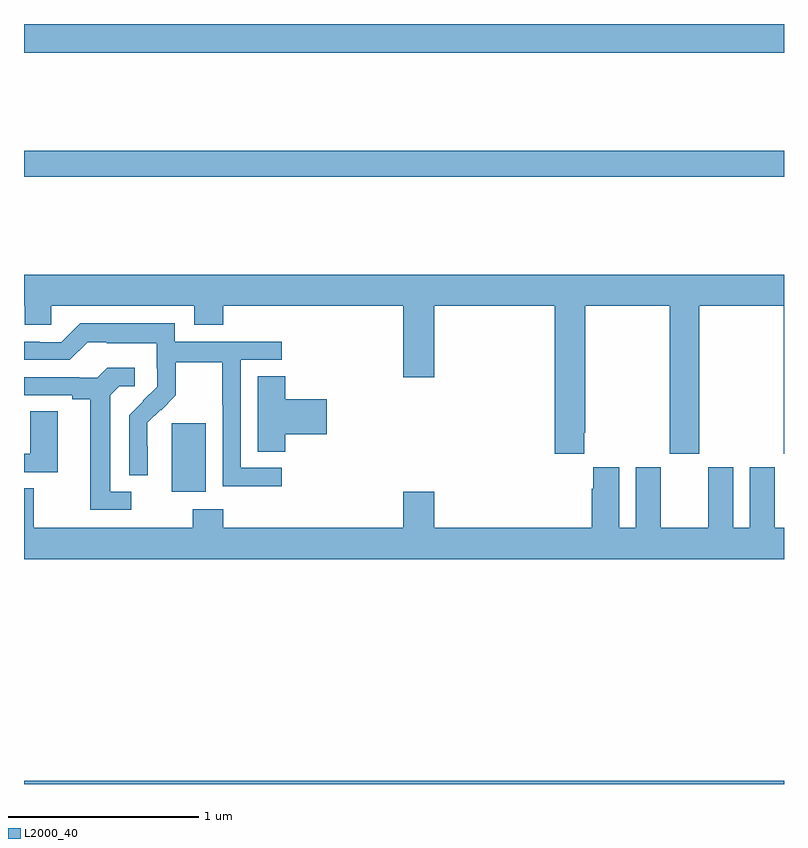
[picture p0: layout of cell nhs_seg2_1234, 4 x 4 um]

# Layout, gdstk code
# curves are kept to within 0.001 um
import gdstk
lib = gdstk.Library(unit=1e-6, precision=1e-09)
def R(c, l, rs):  # rectangles x0, y0, x1, y1
    for r in rs: c.add(gdstk.rectangle(r[:2], r[2:], *l))
def P(c, l, *ps):  # polygons
    for p in ps: c.add(gdstk.Polygon(p, *l))
L2000_40 = (2000, 40)

nhs_seg2_1234 = lib.new_cell('nhs_seg2_1234')
R(nhs_seg2_1234, L2000_40, [(175,631.8,179,631.816), (175.778,633.338,175.957,633.699), (175,634.996,179,635.132), (175,635.648,179,635.8)])
P(nhs_seg2_1234, L2000_40, [(177.949,633.649),(177.954,633.649),(177.954,634.316),(178.399,634.316),(178.399,633.537),(178.554,633.537),(178.554,634.316),(178.999,634.316),(178.999,633.537),(179,633.537),(179,634.48),(175,634.48),(175,634.316),(175.005,634.316),(175.005,634.218),(175.143,634.218),(175.143,634.316),(175.895,634.316),(175.895,634.217),(176.048,634.217),(176.048,634.316),(176.996,634.316),(176.996,633.942),(177.16,633.942),(177.16,634.316),(177.794,634.316),(177.794,633.537),(177.949,633.537)],
  [(176.356,633.465),(176.142,633.465),(176.142,634.032),(176.356,634.032),(176.356,634.128),(175.794,634.128),(175.794,634.225),(175.297,634.225),(175.197,634.125),(175.082,634.125),(175.082,634.128),(175,634.128),(175,634.032),(175.242,634.032),(175.335,634.125),(175.435,634.125),(175.435,634.121),(175.698,634.121),(175.698,633.987),(175.7,633.987),(175.7,633.89),(175.554,633.742),(175.554,633.424),(175.65,633.424),(175.649,633.701),(175.719,633.771),(175.722,633.768),(175.799,633.845),(175.799,634.02),(176.044,634.02),(176.044,633.796),(176.046,633.796),(176.046,633.367),(176.356,633.367)],
  [(175.564,633.339),(175.453,633.339),(175.453,633.847),(175.5,633.894),(175.582,633.894),(175.582,633.991),(175.438,633.991),(175.386,633.939),(175.292,633.939),(175.292,633.942),(175,633.942),(175,633.846),(175.253,633.846),(175.253,633.824),(175.349,633.824),(175.349,633.243),(175.564,633.243)],
  [(176.375,633.641),(176.593,633.641),(176.593,633.824),(176.375,633.824),(176.375,633.947),(176.231,633.947),(176.231,633.55),(176.375,633.55)],
  [(175.177,633.761),(175.032,633.761),(175.032,633.537),(175,633.537),(175,633.441),(175.177,633.441)],
  [(179,633.148),(178.951,633.148),(178.951,633.466),(178.82,633.466),(178.82,633.148),(178.732,633.148),(178.732,633.466),(178.601,633.466),(178.601,633.148),(178.351,633.148),(178.351,633.466),(178.22,633.466),(178.22,633.148),(178.132,633.148),(178.132,633.466),(177.995,633.466),(177.995,633.353),(177.989,633.353),(177.989,633.148),(177.16,633.148),(177.16,633.337),(176.996,633.337),(176.996,633.148),(176.048,633.148),(176.048,633.247),(175.888,633.247),(175.888,633.148),(175.051,633.148),(175.051,633.356),(175,633.356),(175,632.984),(179,632.984)])

lib.write_gds('nhs_seg2_1234.gds')
